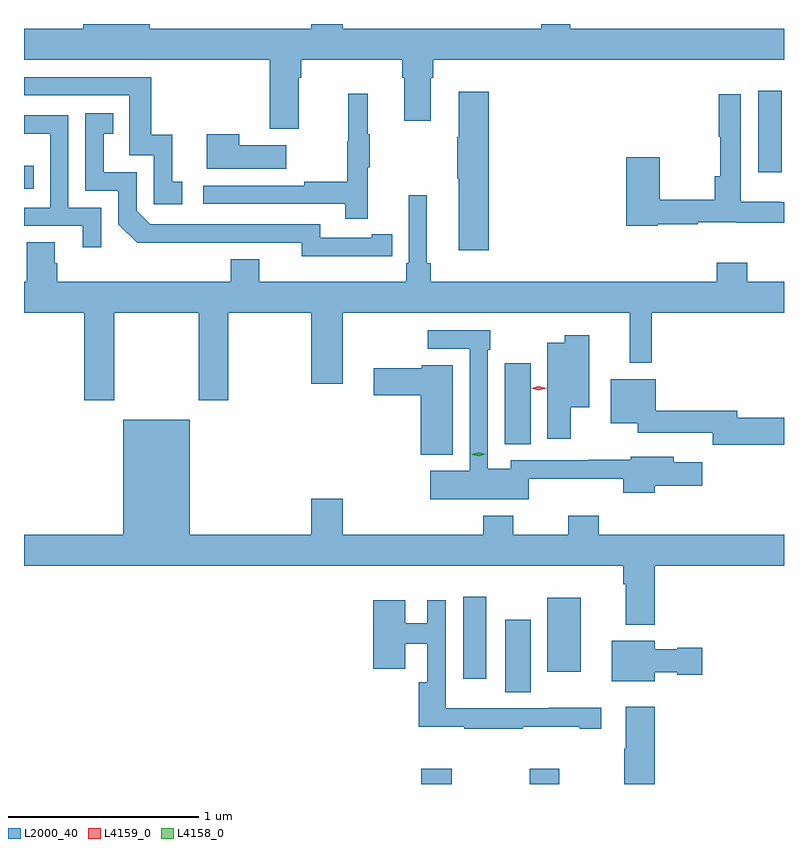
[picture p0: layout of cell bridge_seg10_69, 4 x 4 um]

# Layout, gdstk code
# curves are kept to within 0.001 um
import gdstk
lib = gdstk.Library(unit=1e-6, precision=1e-09)
def R(c, l, rs):  # rectangles x0, y0, x1, y1
    for r in rs: c.add(gdstk.rectangle(r[:2], r[2:], *l))
def P(c, l, *ps):  # polygons
    for p in ps: c.add(gdstk.Polygon(p, *l))
L2000_40 = (2000, 40)
L4158_0 = (4158, 0)
L4159_0 = (4159, 0)

bridge_seg10_69 = lib.new_cell('bridge_seg10_69')
R(bridge_seg10_69, L2000_40, [(776.975,1279.188,777.135,1279.267), (777.544,1279.188,777.699,1279.267), (777.416,1279.672,777.55,1280.053), (777.194,1279.743,777.316,1280.173), (777.638,1279.778,777.814,1280.167), (777.413,1280.977,777.55,1281.403), (774.883,1282.32,774.935,1282.443), (778.748,1282.407,778.87,1282.837)])
P(bridge_seg10_69, L2000_40, [(776.329,1282.904),(776.342,1282.904),(776.342,1283),(776.873,1283),(776.873,1282.904),(776.885,1282.904),(776.885,1282.68),(777.025,1282.68),(777.025,1282.904),(777.038,1282.904),(777.038,1283),(778.883,1283),(778.883,1283.164),(777.758,1283.164),(777.758,1283.188),(777.605,1283.188),(777.605,1283.164),(776.56,1283.164),(776.56,1283.188),(776.396,1283.188),(776.396,1283.164),(775.546,1283.164),(775.546,1283.188),(775.196,1283.188),(775.196,1283.164),(774.883,1283.164),(774.883,1283),(776.177,1283),(776.177,1282.638),(776.329,1282.638)],
  [(775.717,1282.359),(775.664,1282.359),(775.664,1282.606),(775.553,1282.606),(775.553,1282.908),(774.883,1282.908),(774.883,1282.812),(775.437,1282.812),(775.437,1282.497),(775.566,1282.497),(775.566,1282.239),(775.717,1282.239)],
  [(777.329,1282.831),(777.17,1282.831),(777.17,1282.592),(777.163,1282.592),(777.163,1282.375),(777.17,1282.375),(777.17,1281.996),(777.329,1281.996)],
  [(776.693,1282.435),(776.704,1282.435),(776.704,1282.609),(776.693,1282.609),(776.693,1282.822),(776.59,1282.822),(776.59,1282.572),(776.583,1282.572),(776.583,1282.358),(776.359,1282.358),(776.359,1282.338),(775.827,1282.338),(775.827,1282.242),(776.575,1282.242),(776.575,1282.164),(776.693,1282.164)],
  [(778.218,1282.134),(778.43,1282.134),(778.43,1282.145),(778.632,1282.145),(778.632,1282.143),(778.883,1282.143),(778.883,1282.251),(778.866,1282.251),(778.866,1282.252),(778.656,1282.252),(778.656,1282.819),(778.54,1282.819),(778.54,1282.595),(778.548,1282.595),(778.548,1282.387),(778.519,1282.387),(778.519,1282.262),(778.23,1282.262),(778.23,1282.486),(778.052,1282.486),(778.052,1282.126),(778.218,1282.126)],
  [(776.714,1281.966),(776.822,1281.966),(776.822,1282.082),(776.714,1282.082),(776.714,1282.062),(776.442,1282.062),(776.442,1282.134),(775.548,1282.134),(775.476,1282.206),(775.476,1282.407),(775.303,1282.407),(775.303,1282.611),(775.352,1282.611),(775.352,1282.717),(775.206,1282.717),(775.206,1282.311),(775.38,1282.311),(775.38,1282.134),(775.478,1282.037),(776.346,1282.038),(776.346,1281.965)],
  [(775.29,1282.221),(775.116,1282.221),(775.116,1282.707),(774.883,1282.707),(774.883,1282.61),(775.02,1282.61),(775.02,1282.221),(774.883,1282.221),(774.883,1282.125),(775.193,1282.125),(775.193,1282.014),(775.29,1282.014)],
  [(776.263,1282.549),(776.015,1282.549),(776.015,1282.609),(775.844,1282.609),(775.844,1282.427),(776.263,1282.427)],
  [(778.883,1281.832),(778.689,1281.832),(778.689,1281.931),(778.529,1281.931),(778.529,1281.832),(777.023,1281.832),(777.023,1281.928),(777.004,1281.928),(777.004,1282.288),(776.907,1282.288),(776.907,1281.928),(776.894,1281.928),(776.894,1281.832),(776.122,1281.832),(776.122,1281.949),(775.97,1281.949),(775.97,1281.832),(775.058,1281.832),(775.058,1281.93),(775.045,1281.93),(775.045,1282.04),(774.898,1282.04),(774.898,1281.832),(774.883,1281.832),(774.883,1281.668),(775.199,1281.668),(775.199,1281.207),(775.359,1281.207),(775.359,1281.668),(775.804,1281.668),(775.804,1281.207),(775.959,1281.207),(775.959,1281.668),(776.396,1281.668),(776.396,1281.294),(776.56,1281.294),(776.56,1281.668),(778.07,1281.668),(778.07,1281.405),(778.187,1281.405),(778.187,1281.668),(778.883,1281.668)],
  [(777.54,1280.795),(778.037,1280.795),(778.037,1280.72),(778.202,1280.72),(778.202,1280.759),(778.453,1280.759),(778.453,1280.881),(778.303,1280.881),(778.303,1280.911),(778.077,1280.911),(778.077,1280.894),(777.856,1280.894),(777.856,1280.892),(777.444,1280.892),(777.444,1280.848),(777.324,1280.848),(777.324,1281.473),(777.337,1281.473),(777.337,1281.576),(777.009,1281.576),(777.009,1281.48),(777.228,1281.48),(777.228,1280.836),(777.021,1280.836),(777.021,1280.687),(777.54,1280.687)],
  [(777.76,1281.17),(777.859,1281.17),(777.859,1281.55),(777.73,1281.55),(777.73,1281.511),(777.638,1281.511),(777.638,1281.006),(777.76,1281.006)],
  [(777.139,1281.391),(776.976,1281.391),(776.976,1281.375),(776.724,1281.375),(776.724,1281.233),(776.972,1281.233),(776.972,1280.921),(777.139,1280.921)],
  [(778.883,1281.116),(778.636,1281.116),(778.636,1281.152),(778.209,1281.152),(778.209,1281.319),(777.971,1281.319),(777.971,1281.086),(778.113,1281.086),(778.113,1281.036),(778.508,1281.036),(778.508,1280.974),(778.883,1280.974)],
  [(778.202,1280.336),(778.883,1280.336),(778.883,1280.5),(777.908,1280.5),(777.908,1280.599),(777.748,1280.599),(777.748,1280.5),(777.459,1280.5),(777.459,1280.599),(777.299,1280.599),(777.299,1280.5),(776.56,1280.5),(776.56,1280.689),(776.396,1280.689),(776.396,1280.5),(775.756,1280.5),(775.756,1281.106),(775.406,1281.106),(775.406,1280.5),(774.883,1280.5),(774.883,1280.336),(778.037,1280.336),(778.037,1280.24),(778.049,1280.24),(778.049,1280.027),(778.202,1280.027)],
  [(777.509,1279.489),(777.809,1279.489),(777.809,1279.479),(777.922,1279.479),(777.922,1279.589),(777.646,1279.589),(777.646,1279.587),(777.312,1279.587),(777.312,1279.588),(777.102,1279.588),(777.102,1280.155),(777.006,1280.155),(777.006,1280.035),(776.89,1280.035),(776.89,1280.155),(776.72,1280.155),(776.72,1279.794),(776.89,1279.794),(776.89,1279.925),(777.006,1279.925),(777.006,1279.723),(776.96,1279.723),(776.96,1279.489),(777.199,1279.489),(777.199,1279.479),(777.509,1279.479)],
  [(778.204,1279.775),(778.32,1279.775),(778.32,1279.763),(778.453,1279.763),(778.453,1279.905),(778.32,1279.905),(778.32,1279.897),(778.204,1279.897),(778.204,1279.942),(777.977,1279.942),(777.977,1279.73),(778.204,1279.73)],
  [(778.202,1279.594),(778.049,1279.594),(778.049,1279.373),(778.042,1279.373),(778.042,1279.188),(778.202,1279.188)])
P(bridge_seg10_69, L4158_0, [(777.277,1280.913),(777.242,1280.922),(777.242,1280.922),(777.242,1280.923),(777.277,1280.933),(777.312,1280.924),(777.312,1280.924),(777.312,1280.924)])
P(bridge_seg10_69, L4159_0, [(777.592,1281.261),(777.552,1281.271),(777.551,1281.271),(777.552,1281.271),(777.592,1281.281),(777.633,1281.271),(777.633,1281.271),(777.633,1281.271)])

lib.write_gds('bridge_seg10_69.gds')
